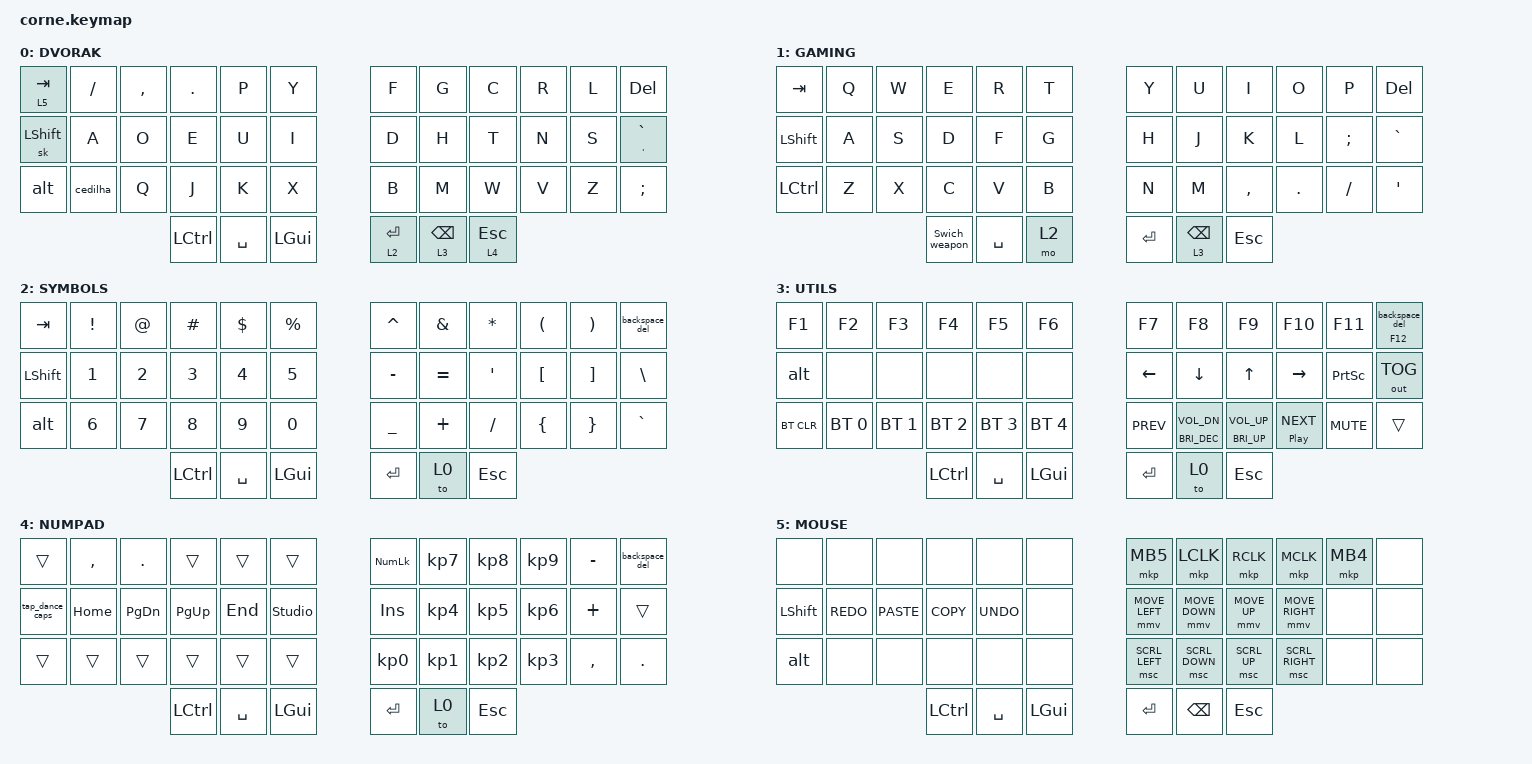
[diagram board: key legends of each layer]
/*
 * Copyright (c) 2020 The ZMK Contributors
 *
 * SPDX-License-Identifier: MIT
 */

#include <behaviors.dtsi>
#include <dt-bindings/zmk/bt.h>
#include <dt-bindings/zmk/keys.h>
#include <dt-bindings/zmk/outputs.h>
#include <dt-bindings/zmk/pointing.h>

/ {
    combos {
        compatible = "zmk,combos";

        combo_gaming {
            bindings = <&to 1>;
            key-positions = <41 36>;
            layers = <0>;
            timeout-ms = <50>;
        };

        combo_dvorak {
            bindings = <&to 0>;
            key-positions = <36 41>;
            layers = <1 2 3 4 5>;
            timeout-ms = <50>;
        };
    };

    macros {
        cedilha: cedilha {
            compatible = "zmk,behavior-macro";
            #binding-cells = <0>;
            bindings = <&kp RA(COMMA)>;
            label = "CEDILHA";
        };
    };

    behaviors {
        layer_change: layer_change {
            compatible = "zmk,behavior-hold-tap";
            label = "LAYER_CHANGE";
            bindings = <&to>, <&to>;

            #binding-cells = <2>;
            tapping-term-ms = <200>;
            flavor = "tap-preferred";
        };

        two_second_ht: two_second_ht {
            compatible = "zmk,behavior-hold-tap";
            label = "TWO_SECOND_HT";
            bindings = <&kp>, <&kp>;

            #binding-cells = <2>;
            tapping-term-ms = <2000>;
            flavor = "tap-preferred";
        };

        backspace_del: backspace_del {
            compatible = "zmk,behavior-mod-morph";
            label = "BACKSPACE_DEL";
            bindings = <&kp BACKSPACE>, <&kp DEL>;

            #binding-cells = <0>;
            mods = <(MOD_LSFT)>;
        };

        alt: alt {
            compatible = "zmk,behavior-mod-morph";
            label = "ALT";
            bindings = <&kp LEFT_ALT>, <&kp RIGHT_ALT>;

            #binding-cells = <0>;
            mods = <(MOD_LGUI)>;
        };

        tap_bcks_kp: tap_bcks_kp {
            compatible = "zmk,behavior-hold-tap";
            label = "TAP_BCKS_KP";
            bindings = <&kp>, <&backspace_del>;

            #binding-cells = <2>;
            tapping-term-ms = <500>;
        };

        caps_lock: caps_lock {
            compatible = "zmk,behavior-mod-morph";
            label = "CAPS_LOCK";
            bindings = <&kp LEFT_SHIFT>, <&tap_dance_caps>;

            #binding-cells = <0>;
            mods = <(MOD_LGUI)>;
        };

        tap_dance_caps: tap_dance_caps {
            compatible = "zmk,behavior-tap-dance";
            label = "TAP_DANCE_CAPS";
            #binding-cells = <0>;
            bindings = <&kp CAPSLOCK>, <&caps_word>;
        };

        ht_kp_mo: ht_kp_mo {
            compatible = "zmk,behavior-hold-tap";
            label = "HT_KP_MO";
            bindings = <&mo>, <&kp>;

            #binding-cells = <2>;
            tapping-term-ms = <200>;
            flavor = "hold-preferred";
        };

        Swich_weapon: Swich_weapon {
            compatible = "zmk,behavior-tap-dance";
            label = "SWICH_WEAPON";
            #binding-cells = <0>;
            bindings = <&mt NUMBER_3 NUMBER_1>, <&kp NUMBER_2>;

            tapping-term-ms = <250>;
        };
    };

    keymap {
        compatible = "zmk,keymap";

        default_layer {
            // -----------------------------------------------------------------------------------------
            // |  TAB |  Q  |  W  |  E  |  R  |  T  |   |  Y  |  U   |  I  |  O  |  P  | BKSP |
            // | CTRL |  A  |  S  |  D  |  F  |  G  |   |  H  |  J   |  K  |  L  |  ;  |  '   |
            // | SHFT |  Z  |  X  |  C  |  V  |  B  |   |  N  |  M   |  ,  |  .  |  /  | ESC  |
            //                    | GUI | LWR | SPC |   | ENT | RSE  | ALT |

            bindings = <
&ht_kp_mo 5 TAB  &kp FSLH  &kp COMMA  &kp DOT           &kp P      &kp Y       &kp F              &kp G                  &kp C            &kp R  &kp L  &kp DEL
&sk LEFT_SHIFT   &kp A     &kp O      &kp E             &kp U      &kp I       &kp D              &kp H                  &kp T            &kp N  &kp S  &mt SQT GRAVE
&alt             &cedilha  &kp Q      &kp J             &kp K      &kp X       &kp B              &kp M                  &kp W            &kp V  &kp Z  &kp SEMI
                                      &kp LEFT_CONTROL  &kp SPACE  &kp LGUI    &ht_kp_mo 2 ENTER  &ht_kp_mo 3 BACKSPACE  &ht_kp_mo 4 ESC
            >;

            display-name = "DVORAK";
        };

        gaming {
            bindings = <
&kp TAB         &kp Q  &kp W  &kp E          &kp R      &kp T    &kp Y    &kp U                  &kp I      &kp O    &kp P     &kp DEL
&kp LEFT_SHIFT  &kp A  &kp S  &kp D          &kp F      &kp G    &kp H    &kp J                  &kp K      &kp L    &kp SEMI  &kp GRAVE
&kp LCTRL       &kp Z  &kp X  &kp C          &kp V      &kp B    &kp N    &kp M                  &kp COMMA  &kp DOT  &kp FSLH  &kp APOS
                              &Swich_weapon  &kp SPACE  &mo 2    &kp RET  &ht_kp_mo 3 BACKSPACE  &kp ESC
            >;

            display-name = "GAMING";
        };

        symbols_numbers {
            // -----------------------------------------------------------------------------------------
            // |  TAB |  !  |  @  |  #  |  $  |  %  |   |  ^  |  &  |  *  |  (  |  )  | BKSP |
            // | CTRL |     |     |     |     |     |   |  -  |  =  |  [  |  ]  |  \  |  `   |
            // | SHFT |     |     |     |     |     |   |  _  |  +  |  {  |  }  | "|" |  ~   |
            //                    | GUI |     | SPC |   | ENT |     | ALT |

            bindings = <
&kp TAB         &kp EXCL  &kp AT  &kp HASH          &kp DLLR   &kp PRCNT    &kp CARET  &kp AMPS   &kp ASTRK         &kp LPAR          &kp RPAR           &backspace_del
&kp LEFT_SHIFT  &kp N1    &kp N2  &kp N3            &kp N4     &kp N5       &kp MINUS  &kp EQUAL  &kp SINGLE_QUOTE  &kp LEFT_BRACKET  &kp RIGHT_BRACKET  &kp BACKSLASH
&alt            &kp N6    &kp N7  &kp N8            &kp N9     &kp N0       &kp UNDER  &kp PLUS   &kp SLASH         &kp LBRC          &kp RBRC           &kp GRAVE
                                  &kp LEFT_CONTROL  &kp SPACE  &kp LGUI     &kp RET    &to 0      &kp ESCAPE
            >;

            display-name = "SYMBOLS";
        };

        fn_layer_bt {
            // -----------------------------------------------------------------------------------------
            // |  TAB |  1  |  2  |  3  |  4  |  5  |   |  6  |  7  |  8  |  9  |  0  | BKSP |
            // | BTCLR| BT1 | BT2 | BT3 | BT4 | BT5 |   | LFT | DWN |  UP | RGT |     |      |
            // | SHFT |     |     |     |     |     |   |     |     |     |     |     |      |
            //                    | GUI |     | SPC |   | ENT |     | ALT |

            bindings = <
&kp F1      &kp F2        &kp F3        &kp F4            &kp F5        &kp F6          &kp F7      &kp F8                         &kp F9                 &kp F10                  &kp F11          &tap_bcks_kp F12 0
&alt        &none         &none         &none             &none         &none           &kp LEFT    &kp DOWN                       &kp UP                 &kp RIGHT                &kp PRINTSCREEN  &out OUT_TOG
&bt BT_CLR  &bt BT_SEL 0  &bt BT_SEL 1  &bt BT_SEL 2      &bt BT_SEL 3  &bt BT_SEL 4    &kp C_PREV  &mt C_BRIGHTNESS_DEC C_VOL_DN  &mt C_BRI_UP C_VOL_UP  &mt C_PLAY_PAUSE C_NEXT  &kp C_MUTE       &trans
                                        &kp LEFT_CONTROL  &kp SPACE     &kp LGUI        &kp RET     &to 0                          &kp ESC
            >;

            display-name = "UTILS";
        };

        numpad {
            bindings = <
&trans           &kp COMMA  &kp PERIOD  &trans            &trans     &trans            &kp KP_NUMLOCK  &kp KP_N7  &kp KP_N8        &kp KP_NUMBER_9  &kp MINUS  &backspace_del
&tap_dance_caps  &kp HOME   &kp PG_DN   &kp PG_UP         &kp END    &studio_unlock    &kp INS         &kp KP_N4  &kp KP_N5        &kp KP_N6        &kp PLUS   &trans
&trans           &trans     &trans      &trans            &trans     &trans            &kp KP_N0       &kp KP_N1  &kp KP_NUMBER_2  &kp KP_NUMBER_3  &kp COMMA  &kp DOT
                                        &kp LEFT_CONTROL  &kp SPACE  &kp LGUI          &kp ENTER       &to 0      &kp ESC
            >;

            display-name = "NUMPAD";
        };

        mouse {
            bindings = <
&none           &none       &none        &none       &none       &none       &mkp MB5        &mkp LCLK       &mkp RCLK     &mkp MCLK        &mkp MB4  &none
&kp LEFT_SHIFT  &kp K_REDO  &kp K_PASTE  &kp K_COPY  &kp K_UNDO  &none       &mmv MOVE_LEFT  &mmv MOVE_DOWN  &mmv MOVE_UP  &mmv MOVE_RIGHT  &none     &none
&alt            &none       &none        &none       &none       &none       &msc SCRL_LEFT  &msc SCRL_DOWN  &msc SCRL_UP  &msc SCRL_RIGHT  &none     &none
                                         &kp LCTRL   &kp SPACE   &kp LGUI    &kp ENTER       &kp BSPC        &kp ESC
            >;

            label = "MOUSE";
        };
    };

    conditional_layers { compatible = "zmk,conditional-layers"; };
};
